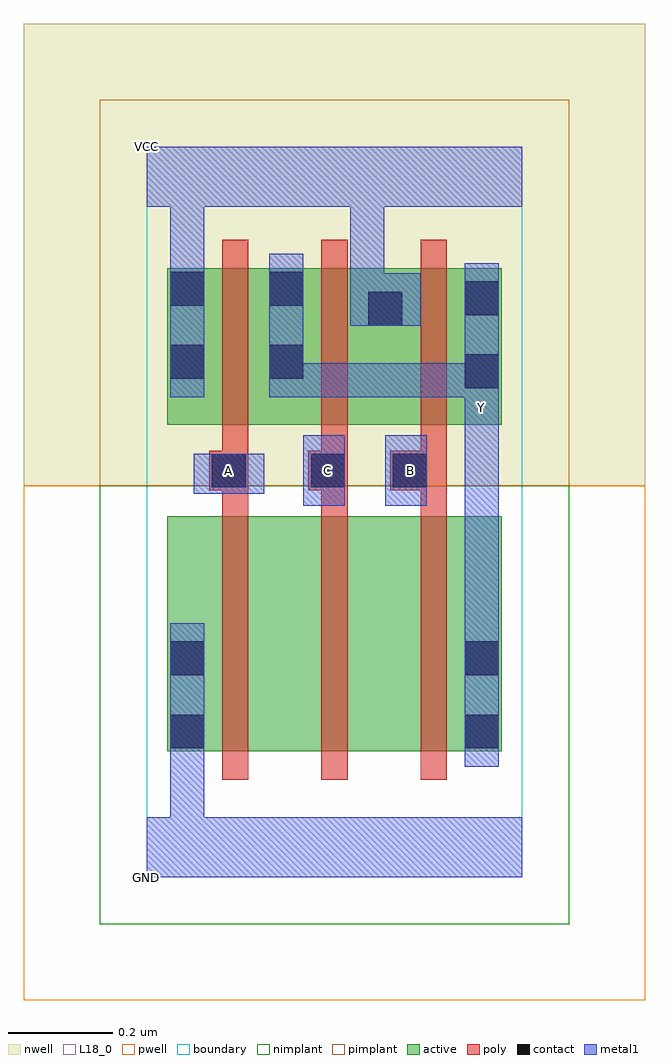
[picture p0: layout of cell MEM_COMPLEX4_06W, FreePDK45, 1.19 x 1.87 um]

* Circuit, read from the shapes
.subckt MEM_COMPLEX4_06W A B C GND VCC Y
M1 n1 A GND VSUBS nfet w=0.45u l=0.05u
M2 n2 C n1 VSUBS nfet w=0.45u l=0.05u
M3 Y B n2 VSUBS nfet w=0.45u l=0.05u
M4 Y A VCC n3 pfet w=0.3u l=0.05u
M5 VCC C Y n3 pfet w=0.3u l=0.05u
M6 Y B VCC n3 pfet w=0.3u l=0.05u
.ends

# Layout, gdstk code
import gdstk
lib = gdstk.Library(unit=1e-6, precision=1e-09)
def R(c, l, rs):  # rectangles x0, y0, x1, y1
    for r in rs: c.add(gdstk.rectangle(r[:2], r[2:], *l))
def A(c, l, x, y, w, h, nx, ny, dx, dy):  # array of equal rectangles
    R(c, l, [(x+i*dx, y+j*dy, x+i*dx+w, y+j*dy+h) for i in range(nx) for j in range(ny)])
active = (1, 0)
pwell = (2, 0)
nwell = (3, 0)
nimplant = (4, 0)
pimplant = (5, 0)
poly = (9, 0)
contact = (10, 0)
metal1 = (11, 0)
L18_0 = (18, 0)
boundary = (235, 0)

mem_complex4_06w = lib.new_cell('MEM_COMPLEX4_06W')
R(mem_complex4_06w, active, [(0.04,0.242,0.115,0.692), (0.04,0.242,0.265,0.692), (0.265,0.242,0.455,0.692), (0.455,0.242,0.68,0.692), (0.605,0.242,0.68,0.692), (0.04,0.867,0.305,1.167), (0.04,0.867,0.115,1.167), (0.23,0.867,0.305,1.165), (0.23,0.867,0.495,1.167), (0.42,0.867,0.68,1.167), (0.605,0.867,0.68,1.165), (0.42,0.887,0.495,1.167)])
R(mem_complex4_06w, pwell, [(-0.235,-0.235,0.955,0.75)])
R(mem_complex4_06w, nwell, [(-0.235,0.75,0.955,1.635)])
R(mem_complex4_06w, nimplant, [(-0.09,-0.09,0.81,0.75)])
R(mem_complex4_06w, pimplant, [(-0.09,0.75,0.81,1.49)])
A(mem_complex4_06w, poly, 0.145, 0.187, 0.05, 0.56, 3, 1, 0.19, 0)
A(mem_complex4_06w, poly, 0.145, 0.697, 0.05, 0.095, 3, 2, 0.19, 0.07)
A(mem_complex4_06w, poly, 0.145, 0.812, 0.05, 0.41, 3, 1, 0.19, 0)
R(mem_complex4_06w, poly, [(0.12,0.742,0.195,0.817), (0.31,0.742,0.385,0.817), (0.467,0.742,0.575,0.817)])
R(mem_complex4_06w, contact, [(0.045,0.247,0.11,0.312), (0.61,0.247,0.675,0.312), (0.045,0.387,0.11,0.452), (0.61,0.387,0.675,0.452), (0.125,0.747,0.19,0.812), (0.315,0.747,0.38,0.812), (0.472,0.747,0.537,0.812), (0.61,0.937,0.675,1.002), (0.045,0.955,0.11,1.02), (0.235,0.955,0.3,1.02), (0.425,1.057,0.49,1.122), (0.61,1.077,0.675,1.142), (0.045,1.095,0.11,1.16), (0.235,1.095,0.3,1.16)])
R(mem_complex4_06w, metal1, [(0,0,0.72,0.115), (0.045,0.05,0.11,0.115), (0.045,0.05,0.11,0.115), (0.045,0.05,0.11,0.277), (0.045,0.212,0.11,0.487), (0.61,0.212,0.675,0.487), (0.61,0.422,0.675,0.897), (0.3,0.712,0.38,0.847), (0.457,0.712,0.537,0.847), (0.09,0.735,0.225,0.812), (0.61,0.832,0.675,0.967), (0.61,0.902,0.675,0.967), (0.61,0.902,0.675,1.177), (0.045,0.92,0.11,1.195), (0.235,0.92,0.3,0.985), (0.235,0.92,0.3,0.985), (0.235,0.92,0.3,1.195), (0.235,0.92,0.537,0.985), (0.472,0.92,0.537,0.985), (0.472,0.92,0.657,0.985), (0.592,0.92,0.657,0.985), (0.592,0.92,0.675,0.985), (0.39,1.057,0.525,1.157), (0.39,1.092,0.455,1.35), (0.045,1.13,0.11,1.35), (0,1.285,0.72,1.4), (0.045,1.285,0.11,1.35), (0.045,1.285,0.11,1.35), (0.39,1.285,0.455,1.35), (0.39,1.285,0.455,1.35)])
R(mem_complex4_06w, L18_0, [(0,0,0.72,0.115), (0.045,0.05,0.11,0.115), (0.045,0.05,0.11,0.115), (0.045,0.05,0.11,0.277), (0.045,0.212,0.11,0.487), (0.61,0.212,0.675,0.487), (0.61,0.422,0.675,0.897), (0.3,0.712,0.38,0.847), (0.457,0.712,0.537,0.847), (0.09,0.735,0.225,0.812), (0.125,0.747,0.19,0.812), (0.315,0.747,0.38,0.812), (0.472,0.747,0.537,0.812), (0.61,0.832,0.675,0.967), (0.61,0.867,0.675,0.932), (0.61,0.902,0.675,0.967), (0.61,0.902,0.675,1.177), (0.045,0.92,0.11,1.195), (0.235,0.92,0.3,0.985), (0.235,0.92,0.3,0.985), (0.235,0.92,0.3,1.195), (0.235,0.92,0.537,0.985), (0.472,0.92,0.537,0.985), (0.472,0.92,0.657,0.985), (0.592,0.92,0.657,0.985), (0.592,0.92,0.675,0.985), (0.39,1.057,0.525,1.157), (0.39,1.092,0.455,1.35), (0.045,1.13,0.11,1.35), (0,1.285,0.72,1.4), (0.045,1.285,0.11,1.35), (0.045,1.285,0.11,1.35), (0.39,1.285,0.455,1.35), (0.39,1.285,0.455,1.35)])
R(mem_complex4_06w, boundary, [(0,0,0.72,1.4)])
mem_complex4_06w.add(gdstk.Label('A', (0.157,0.78), layer=11, texttype=0))
mem_complex4_06w.add(gdstk.Label('B', (0.505,0.78), layer=11, texttype=0))
mem_complex4_06w.add(gdstk.Label('C', (0.347,0.78), layer=11, texttype=0))
mem_complex4_06w.add(gdstk.Label('Y', (0.642,0.9), layer=11, texttype=0))
mem_complex4_06w.add(gdstk.Label('VCC', (0,1.4), layer=11, texttype=0))
mem_complex4_06w.add(gdstk.Label('GND', (0,0), layer=11, texttype=0))

lib.write_gds('MEM_COMPLEX4_06W.gds')
